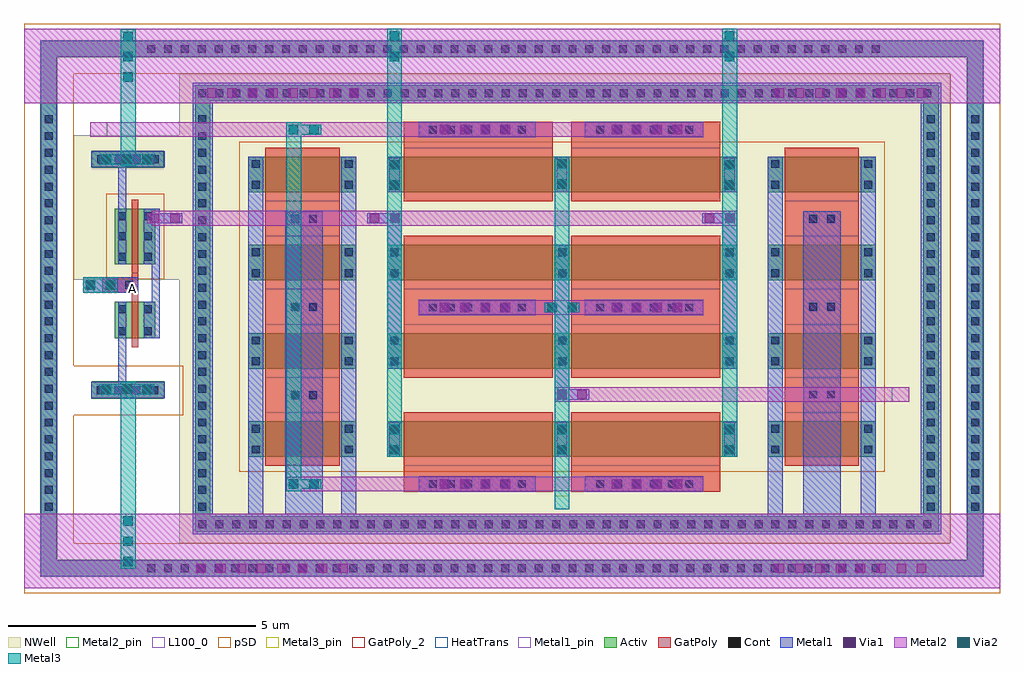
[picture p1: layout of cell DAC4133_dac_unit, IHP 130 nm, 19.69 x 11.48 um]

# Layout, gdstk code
from math import pi, radians
import gdstk
lib = gdstk.Library(unit=1e-6, precision=1e-09)
def R(c, l, rs):  # rectangles x0, y0, x1, y1
    for r in rs: c.add(gdstk.rectangle(r[:2], r[2:], *l))
def A(c, l, x, y, w, h, nx, ny, dx, dy):  # array of equal rectangles
    R(c, l, [(x+i*dx, y+j*dy, x+i*dx+w, y+j*dy+h) for i in range(nx) for j in range(ny)])
def P(c, l, *ps):  # polygons
    for p in ps: c.add(gdstk.Polygon(p, *l))
Activ = (1, 0)
GatPoly = (5, 0)
GatPoly_2 = (5, 2)
Cont = (6, 0)
Metal1 = (8, 0)
Metal1_pin = (8, 2)
Metal2 = (10, 0)
Metal2_pin = (10, 2)
pSD = (14, 0)
Via1 = (19, 0)
Via2 = (29, 0)
Metal3 = (30, 0)
Metal3_pin = (30, 2)
NWell = (31, 0)
HeatTrans = (51, 0)
L100_0 = (100, 0)

pmos_3 = lib.new_cell('pmos$3')
R(pmos_3, Activ, [(0,0,0.3,0.3), (0,0,3.68,0.72), (3.38,0,3.68,0.3)])
R(pmos_3, GatPoly, [(0.34,-0.18,3.34,0.9), (0.34,-0.18,3.34,0.9)])
R(pmos_3, Cont, [(0.07,0.07,0.23,0.23), (3.45,0.07,3.61,0.23), (0.07,0.49,0.23,0.65), (3.45,0.49,3.61,0.65)])
R(pmos_3, Metal1, [(0.07,0,0.23,0.72), (0.07,0,0.23,0.72), (3.45,0,3.61,0.72), (3.45,0,3.61,0.72)])
R(pmos_3, pSD, [(-0.18,-0.3,3.86,1.02)])
R(pmos_3, NWell, [(-0.31,-0.31,3.99,1.03)])
R(pmos_3, HeatTrans, [(0.34,-0.18,3.34,0.9)])
pmos_3.add(gdstk.Label('pmos', (1.84,0.36), layer=63, texttype=0))
pmos_3.add(gdstk.Label('pmos', (1.84,0.36), layer=51, texttype=0))

via_stack_20 = lib.new_cell('via_stack$20')
R(via_stack_20, Metal1, [(-0.76,-0.105,0.76,0.105)])
R(via_stack_20, Metal2, [(-0.76,-0.1,0.76,0.1)])
A(via_stack_20, Via1, -0.71, -0.095, 0.19, 0.19, 4, 1, 0.41, 0)

pmos_4 = lib.new_cell('pmos$4')
R(pmos_4, Activ, [(0,0,0.3,0.3), (0,0,2.18,0.72), (1.88,0,2.18,0.3)])
R(pmos_4, GatPoly, [(0.34,-0.18,1.84,0.9), (0.34,-0.18,1.84,0.9)])
R(pmos_4, Cont, [(0.07,0.07,0.23,0.23), (1.95,0.07,2.11,0.23), (0.07,0.49,0.23,0.65), (1.95,0.49,2.11,0.65)])
R(pmos_4, Metal1, [(0.07,0,0.23,0.72), (0.07,0,0.23,0.72), (1.95,0,2.11,0.72), (1.95,0,2.11,0.72)])
R(pmos_4, pSD, [(-0.18,-0.3,2.36,1.02)])
R(pmos_4, NWell, [(-0.31,-0.31,2.49,1.03)])
R(pmos_4, HeatTrans, [(0.34,-0.18,1.84,0.9)])
pmos_4.add(gdstk.Label('pmos', (1.09,0.36), layer=63, texttype=0))
pmos_4.add(gdstk.Label('pmos', (1.09,0.36), layer=51, texttype=0))

via_stack_7 = lib.new_cell('via_stack$7')
R(via_stack_7, Metal1, [(-0.35,-0.105,0.35,0.105)])
R(via_stack_7, Metal2, [(-0.35,-0.1,0.35,0.1)])
R(via_stack_7, Via1, [(-0.3,-0.095,-0.11,0.095), (0.11,-0.095,0.3,0.095)])

via_stack = lib.new_cell('via_stack')
R(via_stack, Metal2, [(-0.35,-0.1,0.35,0.1)])
R(via_stack, Via2, [(-0.3,-0.095,-0.11,0.095), (0.11,-0.095,0.3,0.095)])
R(via_stack, Metal3, [(-0.35,-0.1,0.35,0.1)])

via_stack_3 = lib.new_cell('via_stack$3')
R(via_stack_3, Metal1, [(-0.105,-0.35,0.105,0.35)])
R(via_stack_3, Metal2, [(-0.1,-0.35,0.1,0.35)])
R(via_stack_3, Via1, [(-0.095,-0.3,0.095,-0.11), (-0.095,0.11,0.095,0.3)])
R(via_stack_3, Via2, [(-0.095,-0.3,0.095,-0.11), (-0.095,0.11,0.095,0.3)])
R(via_stack_3, Metal3, [(-0.1,-0.35,0.1,0.35)])

via_stack_2 = lib.new_cell('via_stack$2')
R(via_stack_2, Metal2, [(-0.1,-0.35,0.1,0.35)])
R(via_stack_2, Via2, [(-0.095,-0.3,0.095,-0.11), (-0.095,0.11,0.095,0.3)])
R(via_stack_2, Metal3, [(-0.1,-0.35,0.1,0.35)])

via_stack_9 = lib.new_cell('via_stack$9')
R(via_stack_9, Metal1, [(-1.58,-0.105,1.58,0.105)])
R(via_stack_9, Metal2, [(-1.58,-0.1,1.58,0.1)])
A(via_stack_9, Via1, -1.53, -0.095, 0.19, 0.19, 8, 1, 0.41, 0)

guard_ring_1 = lib.new_cell('GUARD_RING$1')
P(guard_ring_1, Activ, [(0,0),(0,8.69),(0.31,8.69),(0.31,0.31),(14.69,0.31),(14.69,8.69),(0,8.69),(0,9),(15,9),(15,0)])
A(guard_ring_1, Cont, 0.07, 0.07, 0.16, 0.16, 44, 2, 0.34, 8.69)
A(guard_ring_1, Cont, 0.07, 0.42, 0.16, 0.16, 1, 24, 0, 0.34)
A(guard_ring_1, Cont, 14.76, 0.42, 0.16, 0.16, 1, 24, 0, 0.34)
P(guard_ring_1, Metal1, [(-0.05,-0.05),(-0.05,8.64),(0.36,8.64),(0.36,0.36),(14.64,0.36),(14.64,8.64),(-0.05,8.64),(-0.05,9.05),(15.05,9.05),(15.05,-0.05)])
P(guard_ring_1, NWell, [(-0.24,-0.24),(-0.24,8.45),(0.55,8.45),(0.55,0.55),(14.45,0.55),(14.45,8.45),(-0.24,8.45),(-0.24,9.24),(15.24,9.24),(15.24,-0.24)])

via_stack_21 = lib.new_cell('via_stack$21')
R(via_stack_21, Metal2, [(-0.1,-0.555,0.1,0.555)])
A(via_stack_21, Via2, -0.095, -0.505, 0.19, 0.19, 1, 3, 0, 0.41)
R(via_stack_21, Metal3, [(-0.1,-0.555,0.1,0.555)])

via_stack_22 = lib.new_cell('via_stack$22')
R(via_stack_22, Metal1, [(-0.555,-0.105,0.555,0.105)])
R(via_stack_22, Metal2, [(-0.555,-0.1,0.555,0.1)])
A(via_stack_22, Via1, -0.505, -0.095, 0.19, 0.19, 3, 1, 0.41, 0)
A(via_stack_22, Via2, -0.505, -0.095, 0.19, 0.19, 3, 1, 0.41, 0)
R(via_stack_22, Metal3, [(-0.555,-0.1,0.555,0.1)])

pmos_2 = lib.new_cell('pmos$2')
R(pmos_2, Activ, [(0,0,0.3,0.3), (0,0,0.81,1.12), (0.51,0,0.81,0.3)])
R(pmos_2, GatPoly, [(0.34,-0.18,0.47,1.3), (0.34,-0.18,0.47,1.3)])
A(pmos_2, Cont, 0.07, 0.07, 0.16, 0.16, 1, 3, 0, 0.41)
A(pmos_2, Cont, 0.58, 0.07, 0.16, 0.16, 1, 3, 0, 0.41)
R(pmos_2, Metal1, [(0.07,0,0.23,1.12), (0.07,0,0.23,1.12), (0.58,0,0.74,1.12), (0.58,0,0.74,1.12)])
R(pmos_2, pSD, [(-0.18,-0.3,0.99,1.42)])
R(pmos_2, NWell, [(-0.31,-0.31,1.12,1.43)])
R(pmos_2, HeatTrans, [(0.34,-0.18,0.47,1.3)])
pmos_2.add(gdstk.Label('pmos', (0.405,0.56), layer=63, texttype=0))
pmos_2.add(gdstk.Label('pmos', (0.405,0.56), layer=51, texttype=0))

nmos_2 = lib.new_cell('nmos$2')
R(nmos_2, Activ, [(0,0,0.3,0.3), (0,0,0.81,0.74), (0.51,0,0.81,0.3)])
R(nmos_2, GatPoly, [(0.34,-0.18,0.47,0.92)])
R(nmos_2, GatPoly_2, [(0.34,-0.18,0.47,0.92)])
R(nmos_2, Cont, [(0.07,0.07,0.23,0.23), (0.58,0.07,0.74,0.23), (0.07,0.51,0.23,0.67), (0.58,0.51,0.74,0.67)])
R(nmos_2, Metal1, [(0.07,0,0.23,0.74), (0.58,0,0.74,0.74)])
R(nmos_2, Metal1_pin, [(0.07,0,0.23,0.74), (0.58,0,0.74,0.74)])
R(nmos_2, HeatTrans, [(0.34,-0.18,0.47,0.92)])
nmos_2.add(gdstk.Label('nmos', (0.405,0.37), layer=63, texttype=0))
nmos_2.add(gdstk.Label('nmos', (0.405,0.37), layer=51, texttype=0))

dac4133_inv = lib.new_cell('DAC4133_inv')
R(dac4133_inv, Activ, [(0.525,-1.72,1.975,-1.37), (0.535,2.94,1.985,3.29), (0.535,2.94,1.985,3.29)])
R(dac4133_inv, GatPoly, [(0.74,0.425,1.47,0.735)])
R(dac4133_inv, GatPoly_2, [(1.34,-0.68,1.47,2.3)])
A(dac4133_inv, Cont, 0.63, -1.625, 0.16, 0.16, 4, 1, 0.36, 0)
R(dac4133_inv, Cont, [(0.845,0.5,1.005,0.66), (1.205,0.5,1.365,0.66), (0.64,3.035,0.8,3.195), (0.64,3.035,0.8,3.195), (1,3.035,1.16,3.195), (1,3.035,1.16,3.195), (1.36,3.035,1.52,3.195), (1.36,3.035,1.52,3.195), (1.72,3.035,1.88,3.195), (1.72,3.035,1.88,3.195)])
R(dac4133_inv, Metal1, [(0.525,-1.705,2.005,-1.385), (1.74,-0.5,1.9,2.12), (0.74,0.425,1.47,0.735), (1.07,2.88,1.23,3.275), (1.07,2.88,1.23,3.275), (0.52,2.955,2,3.275), (0.52,2.955,2,3.275)])
R(dac4133_inv, Metal1_pin, [(1.07,-1.695,1.23,0.24), (1.74,-0.5,1.9,2.12), (1.74,-0.5,1.9,2.12), (0.74,0.425,1.47,0.735), (1.07,1,1.23,2.885)])
R(dac4133_inv, pSD, [(0.17,-2.045,2.38,-1.045)])
R(dac4133_inv, NWell, [(0.165,0.69,2.375,3.605)])
R(dac4133_inv, L100_0, [(1.069,-0.431,1.231,-0.269), (1.069,-0.431,1.231,-0.269), (1.579,-0.431,1.741,-0.269), (1.579,-0.431,1.741,-0.269), (1.069,0.009,1.231,0.171), (1.069,0.009,1.231,0.171), (1.579,0.009,1.741,0.171), (1.579,0.009,1.741,0.171), (1.069,1.069,1.231,1.231), (1.069,1.069,1.231,1.231), (1.579,1.069,1.741,1.231), (1.579,1.069,1.741,1.231), (1.069,1.479,1.231,1.641), (1.069,1.479,1.231,1.641), (1.579,1.479,1.741,1.641), (1.579,1.479,1.741,1.641), (1.069,1.889,1.231,2.051), (1.069,1.889,1.231,2.051), (1.579,1.889,1.741,2.051), (1.579,1.889,1.741,2.051)])
dac4133_inv.add(gdstk.FlexPath([(1.15,0.24),(1.15,-1.695)], 0.16, ends="flush", simple_path=True, layer=8, datatype=0))  # Metal1
dac4133_inv.add(gdstk.FlexPath([(1.15,2.885),(1.15,2.12)], 0.16, ends="flush", simple_path=True, layer=8, datatype=0))  # Metal1
dac4133_inv.add(gdstk.FlexPath([(1.405,0.42),(1.405,0.825)], 0.13, ends="flush", simple_path=True, layer=5, datatype=0))  # GatPoly
dac4133_inv.add(gdstk.Reference(pmos_2, (1,1)))
dac4133_inv.add(gdstk.Reference(nmos_2, (1,-0.5)))

dac4133_dac_unit = lib.new_cell('DAC4133_dac_unit')
R(dac4133_dac_unit, Activ, [(3.97,-1.71,5.42,-1.36), (3.965,2.94,5.415,3.29)])
A(dac4133_dac_unit, GatPoly, 7.46, -1.99, 1.5, 0.7, 1, 3, 0, 1.78)
A(dac4133_dac_unit, GatPoly, 17.94, -1.99, 1.5, 0.7, 1, 3, 0, 1.78)
A(dac4133_dac_unit, GatPoly, 7.88, -1.8, 0.73, 0.31, 1, 3, 0, 1.78)
R(dac4133_dac_unit, GatPoly, [(10.26,-3.59,13.26,-3.07), (10.56,-3.59,12.92,-3.28), (13.64,-3.59,16.64,-3.07), (13.91,-3.59,16.3,-3.28), (18.33,-1.785,19.06,-1.475), (10.26,-0.21,13.26,0.49), (13.64,-0.21,16.64,0.49), (10.56,-0.03,12.92,0.28), (13.91,-0.03,16.3,0.28), (18.33,-0.015,19.06,0.295), (4.17,0.425,4.9,0.735), (18.33,1.76,19.06,2.07), (10.26,3.35,13.26,3.87), (13.64,3.35,16.64,3.87), (10.56,3.56,12.92,3.87), (13.91,3.56,16.3,3.87)])
R(dac4133_dac_unit, GatPoly_2, [(4.77,-0.68,4.9,2.3)])
A(dac4133_dac_unit, Cont, 5.08, -5.215, 0.16, 0.16, 44, 2, 0.34, 10.475)
A(dac4133_dac_unit, Cont, 3.015, -3.975, 0.16, 0.16, 1, 24, 0, 0.34)
A(dac4133_dac_unit, Cont, 21.71, -3.975, 0.16, 0.16, 1, 24, 0, 0.34)
A(dac4133_dac_unit, Cont, 10.76, -3.515, 0.16, 0.16, 6, 2, 0.36, 3.56)
A(dac4133_dac_unit, Cont, 14.14, -3.515, 0.16, 0.16, 6, 2, 0.36, 3.56)
A(dac4133_dac_unit, Cont, 7.985, -1.725, 0.16, 0.16, 1, 3, 0, 1.78)
A(dac4133_dac_unit, Cont, 8.345, -1.725, 0.16, 0.16, 1, 3, 0, 1.78)
A(dac4133_dac_unit, Cont, 10.76, 3.635, 0.16, 0.16, 6, 1, 0.36, 0)
A(dac4133_dac_unit, Cont, 14.14, 3.635, 0.16, 0.16, 6, 1, 0.36, 0)
R(dac4133_dac_unit, Cont, [(18.435,-1.71,18.595,-1.55), (18.795,-1.71,18.955,-1.55), (18.435,0.06,18.595,0.22), (18.795,0.06,18.955,0.22), (18.435,1.835,18.595,1.995), (18.795,1.835,18.955,1.995)])
A(dac4133_dac_unit, Metal1, 7.88, -1.8, 0.73, 0.31, 1, 3, 0, 1.78)
R(dac4133_dac_unit, Metal1, [(10.56,-3.59,12.92,-3.28), (13.91,-3.59,16.3,-3.28), (18.33,-1.785,19.06,-1.475), (3.955,-1.695,5.435,-1.375), (5.17,-0.5,5.33,2.12), (10.56,-0.03,12.92,0.28), (13.91,-0.03,16.3,0.28), (18.33,-0.015,19.06,0.295), (4.17,0.425,4.9,0.735), (18.33,1.76,19.06,2.07), (4.5,2.88,4.66,3.275), (3.95,2.955,5.43,3.275), (10.56,3.56,12.92,3.87), (13.91,3.56,16.3,3.87)])
R(dac4133_dac_unit, Metal1_pin, [(4.5,-1.695,4.66,0.24), (5.17,-0.5,5.33,2.12), (5.17,-0.5,5.33,2.12), (3.79,0.425,4.11,0.735), (3.79,0.425,4.9,0.735), (4.5,1,4.66,2.885)])
A(dac4133_dac_unit, Metal2, 9.92, -2.89, 0.3, 0.7, 3, 2, 3.38, 5.34)
R(dac4133_dac_unit, Metal2, [(3.79,0.425,4.49,0.735)])
R(dac4133_dac_unit, Metal2_pin, [(2.595,-5.535,22.285,-4.035), (20.105,-1.78,20.455,-1.48), (3.93,3.565,4.275,3.865), (2.595,4.245,22.285,5.745)])
R(dac4133_dac_unit, pSD, [(6.94,-3.19,19.96,3.47), (3.595,-2.045,3.6,-1.045), (3.6,-2.045,5.81,-1.045)])
R(dac4133_dac_unit, Metal3, [(3.79,0.425,4.49,0.735)])
R(dac4133_dac_unit, Metal3_pin, [(13.3,-3.94,13.6,-3.675)])
R(dac4133_dac_unit, NWell, [(5.725,-4.635,6.05,4.845), (5.805,-4.635,21.285,4.845), (3.595,0.69,5.805,3.605)])
R(dac4133_dac_unit, L100_0, [(4.499,-0.431,4.661,-0.269), (4.499,-0.431,4.661,-0.269), (5.009,-0.431,5.171,-0.269), (5.009,-0.431,5.171,-0.269), (4.499,0.009,4.661,0.171), (4.499,0.009,4.661,0.171), (5.009,0.009,5.171,0.171), (5.009,0.009,5.171,0.171), (4.499,1.069,4.661,1.231), (4.499,1.069,4.661,1.231), (5.009,1.069,5.171,1.231), (5.009,1.069,5.171,1.231), (4.499,1.479,4.661,1.641), (4.499,1.479,4.661,1.641), (5.009,1.479,5.171,1.641), (5.009,1.479,5.171,1.641), (4.499,1.889,4.661,2.051), (4.499,1.889,4.661,2.051), (5.009,1.889,5.171,2.051), (5.009,1.889,5.171,2.051)])
dac4133_dac_unit.add(gdstk.FlexPath([(4.9,0.58),(3.79,0.58)], 0.31, ends="flush", simple_path=True, layer=8, datatype=0))  # Metal1
dac4133_dac_unit.add(gdstk.FlexPath([(4.58,0.24),(4.58,-1.695)], 0.16, ends="flush", simple_path=True, layer=8, datatype=0))  # Metal1
dac4133_dac_unit.add(gdstk.FlexPath([(4.58,2.885),(4.58,2.12)], 0.16, ends="flush", simple_path=True, layer=8, datatype=0))  # Metal1
dac4133_dac_unit.add(gdstk.FlexPath([(16.83,-1.11),(16.83,2.075)], 0.3, ends="flush", simple_path=True, layer=8, datatype=0))  # Metal1
dac4133_dac_unit.add(gdstk.FlexPath([(10.07,-1.11),(10.07,2.075)], 0.3, ends="flush", simple_path=True, layer=8, datatype=0))  # Metal1
dac4133_dac_unit.add(gdstk.FlexPath([(13.45,-1.78),(13.45,1.39)], 0.3, ends="flush", simple_path=True, layer=8, datatype=0))  # Metal1
dac4133_dac_unit.add(gdstk.FlexPath([(19.63,3.17),(19.63,-4.445)], 0.3, ends="flush", simple_path=True, layer=8, datatype=0))  # Metal1
dac4133_dac_unit.add(gdstk.FlexPath([(17.75,3.17),(17.75,-4.445)], 0.3, ends="flush", simple_path=True, layer=8, datatype=0))  # Metal1
dac4133_dac_unit.add(gdstk.FlexPath([(9.15,3.17),(9.15,-4.445)], 0.3, ends="flush", simple_path=True, layer=8, datatype=0))  # Metal1
dac4133_dac_unit.add(gdstk.FlexPath([(7.27,3.17),(7.27,-4.445)], 0.3, ends="flush", simple_path=True, layer=8, datatype=0))  # Metal1
dac4133_dac_unit.add(gdstk.FlexPath([(8.245,-4.445),(8.245,2.07)], 0.75, ends="flush", simple_path=True, layer=8, datatype=0))  # Metal1
dac4133_dac_unit.add(gdstk.FlexPath([(18.695,-4.445),(18.695,2.07)], 0.75, ends="flush", simple_path=True, layer=8, datatype=0))  # Metal1
dac4133_dac_unit.add(gdstk.FlexPath([(21.785,-5.135),(21.785,5.345),(3.095,5.345),(3.095,-5.135),(21.945,-5.135)], 0.32, ends="flush", simple_path=True, layer=8, datatype=0))  # Metal1
dac4133_dac_unit.add(gdstk.FlexPath([(13.3,-1.63),(20.455,-1.63)], 0.3, ends="flush", simple_path=True, layer=10, datatype=0))  # Metal2
dac4133_dac_unit.add(gdstk.FlexPath([(3.93,3.715),(16.3,3.715)], 0.3, ends="flush", simple_path=True, layer=10, datatype=0))  # Metal2
dac4133_dac_unit.add(gdstk.FlexPath([(16.3,0.125),(10.56,0.125)], 0.3, ends="flush", simple_path=True, layer=10, datatype=0))  # Metal2
dac4133_dac_unit.add(gdstk.FlexPath([(5.17,1.925),(16.98,1.925)], 0.3, ends="flush", simple_path=True, layer=10, datatype=0))  # Metal2
dac4133_dac_unit.add(gdstk.FlexPath([(2.595,4.995),(22.285,4.995)], 1.5, ends="flush", simple_path=True, layer=10, datatype=0))  # Metal2
dac4133_dac_unit.add(gdstk.FlexPath([(7.89,-3.435),(16.3,-3.435)], 0.3, ends="flush", simple_path=True, layer=10, datatype=0))  # Metal2
dac4133_dac_unit.add(gdstk.FlexPath([(2.595,-4.785),(22.285,-4.785)], 1.5, ends="flush", simple_path=True, layer=10, datatype=0))  # Metal2
dac4133_dac_unit.add(gdstk.FlexPath([(13.45,-3.94),(13.45,3.17)], 0.3, ends="flush", simple_path=True, layer=30, datatype=0))  # Metal3
dac4133_dac_unit.add(gdstk.FlexPath([(10.07,-2.89),(10.07,5.745)], 0.3, ends="flush", simple_path=True, layer=30, datatype=0))  # Metal3
dac4133_dac_unit.add(gdstk.FlexPath([(16.83,-2.89),(16.83,5.745)], 0.3, ends="flush", simple_path=True, layer=30, datatype=0))  # Metal3
dac4133_dac_unit.add(gdstk.FlexPath([(8.04,-3.58),(8.04,3.86)], 0.3, ends="flush", simple_path=True, layer=30, datatype=0))  # Metal3
dac4133_dac_unit.add(gdstk.FlexPath([(4.695,2.97),(4.695,5.74)], 0.3, ends="flush", simple_path=True, layer=30, datatype=0))  # Metal3
dac4133_dac_unit.add(gdstk.FlexPath([(4.695,-5.145),(4.695,-1.375)], 0.3, ends="flush", simple_path=True, layer=30, datatype=0))  # Metal3
dac4133_dac_unit.add(gdstk.FlexPath([(4.835,0.42),(4.835,0.825)], 0.13, ends="flush", simple_path=True, layer=5, datatype=0))  # GatPoly
dac4133_dac_unit.add(gdstk.FlexPath([(21.785,-5.635),(21.785,5.345),(3.095,5.345),(3.095,-5.135),(22.285,-5.135)], 1, ends="flush", simple_path=True, layer=14, datatype=0))  # pSD
dac4133_dac_unit.add(gdstk.FlexPath([(21.785,-5.135),(21.785,5.345),(3.095,5.345),(3.095,-5.135),(21.96,-5.135)], 0.35, ends="flush", simple_path=True, layer=1, datatype=0))  # Activ
dac4133_dac_unit.add(gdstk.Reference(pmos_3, (9.92,0.67)))
dac4133_dac_unit.add(gdstk.Reference(pmos_3, (13.3,0.67)))
dac4133_dac_unit.add(gdstk.Reference(pmos_3, (9.92,-1.11)))
dac4133_dac_unit.add(gdstk.Reference(pmos_3, (13.3,-1.11)))
dac4133_dac_unit.add(gdstk.Reference(via_stack_20, (15.16,0.125)))
dac4133_dac_unit.add(gdstk.Reference(pmos_4, (7.12,2.45)))
dac4133_dac_unit.add(gdstk.Reference(pmos_3, (9.92,2.45)))
dac4133_dac_unit.add(gdstk.Reference(pmos_3, (13.3,2.45)))
dac4133_dac_unit.add(gdstk.Reference(pmos_3, (9.92,-2.89)))
dac4133_dac_unit.add(gdstk.Reference(pmos_3, (13.3,-2.89)))
dac4133_dac_unit.add(gdstk.Reference(pmos_4, (17.6,2.45)))
dac4133_dac_unit.add(gdstk.Reference(via_stack_20, (11.695,0.125)))
dac4133_dac_unit.add(gdstk.Reference(pmos_4, (17.6,0.67)))
dac4133_dac_unit.add(gdstk.Reference(via_stack_7, (13.65,-1.63)))
dac4133_dac_unit.add(gdstk.Reference(pmos_4, (17.6,-1.11)))
dac4133_dac_unit.add(gdstk.Reference(pmos_4, (17.6,-2.89)))
dac4133_dac_unit.add(gdstk.Reference(via_stack_7, (9.87,1.925)))
dac4133_dac_unit.add(gdstk.Reference(pmos_4, (7.12,0.67)))
dac4133_dac_unit.add(gdstk.Reference(pmos_4, (7.12,-1.11)))
dac4133_dac_unit.add(gdstk.Reference(pmos_4, (7.12,-2.89)))
dac4133_dac_unit.add(gdstk.Reference(via_stack_7, (16.63,1.925)))
dac4133_dac_unit.add(gdstk.Reference(via_stack, (13.45,0.125)))
dac4133_dac_unit.add(gdstk.Reference(via_stack_3, (13.45,2.82)))
dac4133_dac_unit.add(gdstk.Reference(via_stack_3, (13.45,-2.54)))
dac4133_dac_unit.add(gdstk.Reference(via_stack_3, (16.83,-2.54)))
dac4133_dac_unit.add(gdstk.Reference(via_stack_3, (16.83,2.8)))
dac4133_dac_unit.add(gdstk.Reference(via_stack_3, (10.07,2.8)))
dac4133_dac_unit.add(gdstk.Reference(via_stack_3, (10.07,-2.54)))
dac4133_dac_unit.add(gdstk.Reference(via_stack_20, (15.16,-3.435)))
dac4133_dac_unit.add(gdstk.Reference(via_stack_20, (11.695,-3.435)))
dac4133_dac_unit.add(gdstk.Reference(via_stack_20, (15.16,3.715)))
dac4133_dac_unit.add(gdstk.Reference(via_stack_20, (11.695,3.715)))
dac4133_dac_unit.add(gdstk.Reference(via_stack_7, (5.435,1.925)))
dac4133_dac_unit.add(gdstk.Reference(via_stack, (8.24,-3.435)))
dac4133_dac_unit.add(gdstk.Reference(via_stack, (8.24,3.715)))
dac4133_dac_unit.add(gdstk.Reference(via_stack_2, (16.83,5.395)))
dac4133_dac_unit.add(gdstk.Reference(via_stack_2, (10.07,5.395)))
dac4133_dac_unit.add(gdstk.Reference(via_stack_9, (19.27,4.45)))
dac4133_dac_unit.add(gdstk.Reference(via_stack_9, (7.82,4.45)))
dac4133_dac_unit.add(gdstk.Reference(guard_ring_1, (6.045,-4.395)))
dac4133_dac_unit.add(gdstk.Reference(via_stack_21, (4.695,5.185)))
dac4133_dac_unit.add(gdstk.Reference(via_stack_22, (4.67,3.115)))
dac4133_dac_unit.add(gdstk.Reference(via_stack_21, (4.695,-4.59)))
dac4133_dac_unit.add(gdstk.Reference(via_stack_22, (4.67,-1.52)))
dac4133_dac_unit.add(gdstk.Reference(via_stack_9, (19.27,-5.135)))
dac4133_dac_unit.add(gdstk.Reference(via_stack_9, (7.595,-5.135)))
dac4133_dac_unit.add(gdstk.Reference(via_stack_3, (4.14,0.58), rotation=pi/2))
dac4133_dac_unit.add(gdstk.Reference(dac4133_inv, (3.43,0)))
dac4133_dac_unit.add(gdstk.Label('A', (4.785,0.5), layer=5, texttype=2))

lib.write_gds('DAC4133_dac_unit.gds')
